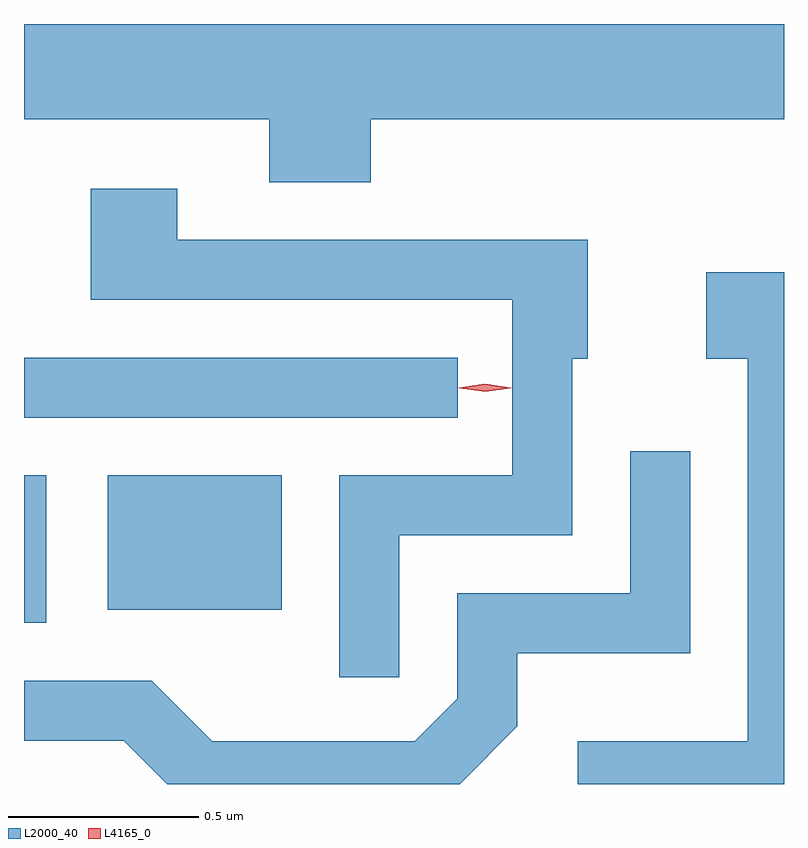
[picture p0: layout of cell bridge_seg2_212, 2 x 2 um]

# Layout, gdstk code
import gdstk
lib = gdstk.Library(unit=1e-6, precision=1e-09)
def R(c, l, rs):  # rectangles x0, y0, x1, y1
    for r in rs: c.add(gdstk.rectangle(r[:2], r[2:], *l))
def P(c, l, *ps):  # polygons
    for p in ps: c.add(gdstk.Polygon(p, *l))
L2000_40 = (2000, 40)
L4165_0 = (4165, 0)

bridge_seg2_212 = lib.new_cell('bridge_seg2_212')
R(bridge_seg2_212, L2000_40, [(1066.556,1035.891,1066.614,1036.279), (1066.776,1035.926,1067.234,1036.279), (1066.556,1036.431,1067.698,1036.589)])
P(bridge_seg2_212, L2000_40, [(1067.469,1037.216),(1068.556,1037.216),(1068.556,1037.467),(1066.556,1037.467),(1066.556,1037.216),(1067.201,1037.216),(1067.201,1037.051),(1067.469,1037.051)],
  [(1067.544,1036.121),(1067.999,1036.121),(1067.999,1036.586),(1068.039,1036.586),(1068.039,1036.899),(1066.959,1036.899),(1066.959,1037.034),(1066.731,1037.034),(1066.731,1036.741),(1067.841,1036.741),(1067.841,1036.279),(1067.386,1036.279),(1067.386,1035.748),(1067.544,1035.748)],
  [(1068.556,1036.814),(1068.351,1036.814),(1068.351,1036.586),(1068.461,1036.586),(1068.461,1035.579),(1068.013,1035.579),(1068.013,1035.467),(1068.556,1035.467)],
  [(1067.854,1035.619),(1067.854,1035.811),(1068.309,1035.811),(1068.309,1036.343),(1068.151,1036.343),(1068.151,1035.969),(1067.696,1035.969),(1067.696,1035.692),(1067.584,1035.579),(1067.052,1035.579),(1066.892,1035.739),(1066.556,1035.739),(1066.556,1035.581),(1066.819,1035.581),(1066.933,1035.467),(1067.703,1035.467)])
P(bridge_seg2_212, L4165_0, [(1067.769,1036.5),(1067.7,1036.51),(1067.699,1036.51),(1067.7,1036.51),(1067.769,1036.52),(1067.838,1036.51),(1067.838,1036.51),(1067.838,1036.51)],
  [(1067.77,1036.499),(1067.703,1036.508),(1067.703,1036.509),(1067.703,1036.509),(1067.77,1036.519),(1067.836,1036.509),(1067.836,1036.509),(1067.836,1036.508)])

lib.write_gds('bridge_seg2_212.gds')
